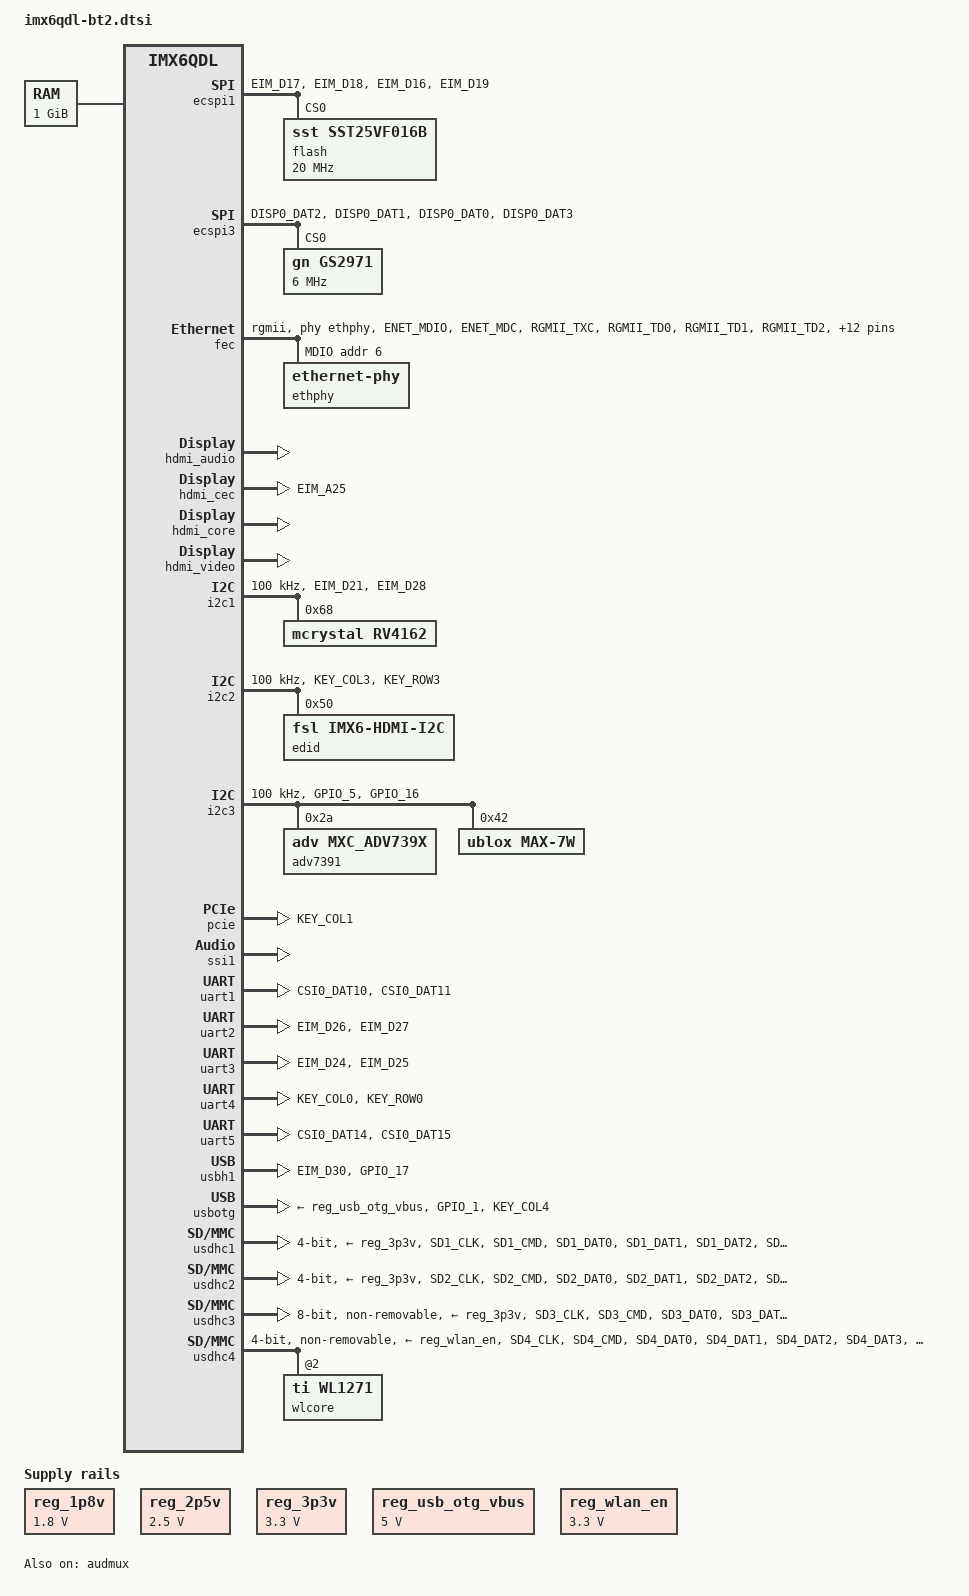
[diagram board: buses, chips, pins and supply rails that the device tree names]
/*
 * Copyright 2014 Boundary Devices
 * Copyright 2012 Freescale Semiconductor, Inc.
 * Copyright 2011 Linaro Ltd.
 *
 * The code contained herein is licensed under the GNU General Public
 * License. You may obtain a copy of the GNU General Public License
 * Version 2 or later at the following locations:
 *
 * http://www.opensource.org/licenses/gpl-license.html
 * http://www.gnu.org/copyleft/gpl.html
 */
#include <dt-bindings/gpio/gpio.h>
#include <dt-bindings/input/input.h>

&iomuxc {
	pinctrl-names = "default";
	pinctrl-0 = <&pinctrl_hog>;

	iomuxc_imx6q_bt: iomuxc-imx6q-btgrp {
		status = "okay";
	};
};

&iomuxc_imx6q_bt {
	pinctrl_audmux: audmuxgrp {
		fsl,pins = <
			/* Audio - GS2971 */
			MX6QDL_PAD_KEY_ROW1__AUD5_RXD		0x1b070
			MX6QDL_PAD_DISP0_DAT14__AUD5_RXC	0x1b070
			MX6QDL_PAD_DISP0_DAT13__AUD5_RXFS	0x1b070
		>;
	};

	pinctrl_ecspi1: ecspi1grp {
		fsl,pins = <
			MX6QDL_PAD_EIM_D17__ECSPI1_MISO		0x100b1
			MX6QDL_PAD_EIM_D18__ECSPI1_MOSI		0x100b1
			MX6QDL_PAD_EIM_D16__ECSPI1_SCLK		0x100b1
#define GP_ECSPI1_NOR_CS	<&gpio3 19 GPIO_ACTIVE_LOW>
			MX6QDL_PAD_EIM_D19__GPIO3_IO19		0x0b0b0
		>;
	};

	pinctrl_ecspi3: ecspi3grp {
		fsl,pins = <
			MX6QDL_PAD_DISP0_DAT2__ECSPI3_MISO	0x100b1
			MX6QDL_PAD_DISP0_DAT1__ECSPI3_MOSI	0x100b1
			MX6QDL_PAD_DISP0_DAT0__ECSPI3_SCLK	0x100b1
#define GP_ECSPI3_GS2971_CS	<&gpio4 24 GPIO_ACTIVE_LOW>
			MX6QDL_PAD_DISP0_DAT3__GPIO4_IO24	0x0b0b0		/* GS2971 */
		>;
	};

	pinctrl_ecspi3_gs2971: ecspi3-gs2971grp {
		/* parallel camera on CSI1, pins differ for iMX6Q/iMX6DL */
	};

	pinctrl_ecspi3_gs2971_cea861: ecspi3-gs2971_cea861grp {
		/* parallel camera on CSI1, pins differ for iMX6Q/iMX6DL */
	};

	pinctrl_ecspi3_gs2971_no_cea861: ecspi3-gs2971-no-cea861grp { /* parallel camera */
		/* sav/eav codes are used, not hsync/vsync */
		fsl,pins = <
			MX6QDL_PAD_EIM_DA11__GPIO3_IO11		0xb0b0	/* HSYNC */
			MX6QDL_PAD_EIM_DA12__GPIO3_IO12		0xb0b0	/* VSYNC */
		>;
	};

	pinctrl_ecspi3_gs2971_gpios: ecspi3-gs2971-gpiosgrp {
		fsl,pins = <
#define GPIO_INPUT 2
#define GP_GS2971_STANDBY	<&gpio5 0 GPIO_ACTIVE_HIGH>
			MX6QDL_PAD_EIM_WAIT__GPIO5_IO00		0x0b0b0		/* 1 - pin K2 - Standby */
#define GP_GS2971_RESET		<&gpio3 13 GPIO_ACTIVE_LOW>
			MX6QDL_PAD_EIM_DA13__GPIO3_IO13		0x030b0		/* 0 - pin C7 - reset */
#define GP_GS2971_RC_BYPASS	<&gpio4 27 GPIO_ACTIVE_HIGH>
			MX6QDL_PAD_DISP0_DAT6__GPIO4_IO27	0x000b0		/* 0 - pin G3 - RC bypass - output is buffered(low) */
#define GP_GS2971_IOPROC_EN	<&gpio4 28 GPIO_ACTIVE_HIGH>
			MX6QDL_PAD_DISP0_DAT7__GPIO4_IO28	0x000b0		/* 0 - pin H8 - io(A/V) processor enable */
#define GP_GS2971_AUDIO_EN	<&gpio4 29 GPIO_ACTIVE_HIGH>
			MX6QDL_PAD_DISP0_DAT8__GPIO4_IO29	0x000b0		/* 0 - pin H3 - Audio Enable */
#define GP_GS2971_TIM_861	<&gpio4 30 GPIO_ACTIVE_HIGH>
			MX6QDL_PAD_DISP0_DAT9__GPIO4_IO30	0x000b0		/* 0 - pin H5 - TIM861 timing format, 1-use HSYNC/VSYNC */
#define GP_GS2971_SW_EN		<&gpio4 31 GPIO_ACTIVE_HIGH>
			MX6QDL_PAD_DISP0_DAT10__GPIO4_IO31	0x000b0		/* 0 - pin D7 - SW_EN - line lock enable */
#define GP_GS2971_DVB_ASI	<&gpio5 5 GPIO_INPUT>
			MX6QDL_PAD_DISP0_DAT11__GPIO5_IO05	0x1b0b0		/* pin G8 i/o DVB_ASI */
#define GP_GS2971_SMPTE_BYPASS	<&gpio2 24 GPIO_INPUT>
			MX6QDL_PAD_EIM_CS1__GPIO2_IO24		0x1b0b0		/* pin G7 - i/o SMPTE bypass */
#define GP_GS2971_DVI_LOCK	<&gpio3 14 GPIO_INPUT>
			MX6QDL_PAD_EIM_DA14__GPIO3_IO14		0x1b0b0		/* pin B6 - stat3 - DVI_LOCK */
#define GP_GS2971_DATA_ERR	<&gpio3 15 GPIO_INPUT>
			MX6QDL_PAD_EIM_DA15__GPIO3_IO15		0x1b0b0		/* pin C6 - stat5 - DATA error */
#define GP_GS2971_LB_CONT	<&gpio3 20 GPIO_INPUT>
			MX6QDL_PAD_EIM_D20__GPIO3_IO20		0x1b0b0		/* pin A3 - LB control - float, analog input */
#define GP_GS2971_Y_1ANC	<&gpio4 26 GPIO_INPUT>
			MX6QDL_PAD_DISP0_DAT5__GPIO4_IO26	0x1b0b0		/* pin C5 - stat4 - 1ANC - Y signal detect */
		>;
	};

	pinctrl_enet: enetgrp {
		fsl,pins = <
			MX6QDL_PAD_ENET_MDIO__ENET_MDIO		0x1b0b0
			MX6QDL_PAD_ENET_MDC__ENET_MDC		0x1b0b0
			MX6QDL_PAD_RGMII_TXC__RGMII_TXC		0x100b0
			MX6QDL_PAD_RGMII_TD0__RGMII_TD0		0x100b0
			MX6QDL_PAD_RGMII_TD1__RGMII_TD1		0x100b0
			MX6QDL_PAD_RGMII_TD2__RGMII_TD2		0x100b0
			MX6QDL_PAD_RGMII_TD3__RGMII_TD3		0x100b0
			MX6QDL_PAD_RGMII_TX_CTL__RGMII_TX_CTL	0x100b0
			MX6QDL_PAD_ENET_REF_CLK__ENET_TX_CLK	0x100b0
			MX6QDL_PAD_RGMII_RXC__RGMII_RXC		0x1b0b0
			MX6QDL_PAD_RGMII_RD0__RGMII_RD0		0x1b0b0
			MX6QDL_PAD_RGMII_RD1__RGMII_RD1		0x1b0b0
			MX6QDL_PAD_RGMII_RD2__RGMII_RD2		0x1b0b0
			MX6QDL_PAD_RGMII_RD3__RGMII_RD3		0x1b0b0
			MX6QDL_PAD_RGMII_RX_CTL__RGMII_RX_CTL	0x1b0b0
#define GP_ENET_PHY_RESET	<&gpio1 27 GPIO_ACTIVE_LOW>
			MX6QDL_PAD_ENET_RXD0__GPIO1_IO27	0x030b0
#define GPIRQ_ENET_PHY		<&gpio1 28 IRQ_TYPE_LEVEL_LOW>
			MX6QDL_PAD_ENET_TX_EN__GPIO1_IO28	0x1b0b0
#define GPIRQ_ENET		<&gpio1 6 IRQ_TYPE_LEVEL_HIGH>
			MX6QDL_PAD_GPIO_6__ENET_IRQ		0x000b1
		>;
	};

	pinctrl_hdmi_cec: hdmi_cecgrp {
		fsl,pins = <
			MX6QDL_PAD_EIM_A25__HDMI_TX_CEC_LINE	0x1f8b0
		>;
	};

	pinctrl_hog: hoggrp {
		fsl,pins = <
#define GP_PWR_J1	<&gpio5 9 GPIO_ACTIVE_LOW>
			MX6QDL_PAD_DISP0_DAT15__GPIO5_IO09	0x4000b0b0	/* SION */
#define GP_PWR_J2	<&gpio4 25 GPIO_ACTIVE_LOW>
			MX6QDL_PAD_DISP0_DAT4__GPIO4_IO25	0x4000b0b0
#define GP_PWR_J3	<&gpio2 23 GPIO_ACTIVE_LOW>
			MX6QDL_PAD_EIM_CS0__GPIO2_IO23		0x4000b0b0
#define GP_PWR_J4	<&gpio2 25 GPIO_ACTIVE_LOW>
			MX6QDL_PAD_EIM_OE__GPIO2_IO25		0x4000b0b0
#define GP_PWR_J5V	<&gpio2 27 GPIO_ACTIVE_LOW>
			MX6QDL_PAD_EIM_LBA__GPIO2_IO27		0x4000b0b0
#define GP_PWR_J12V	<&gpio2 26 GPIO_ACTIVE_LOW>
			MX6QDL_PAD_EIM_RW__GPIO2_IO26		0x4000b0b0

#define GP_TW6869_MIC_BIAS_EN	<&gpio3 29 GPIO_ACTIVE_HIGH>
			MX6QDL_PAD_EIM_D29__GPIO3_IO29		0x030b0

			/* J92 pins */
#define GP_J92_PIN7	<&gpio3 31 GPIO_ACTIVE_LOW>
			MX6QDL_PAD_EIM_D31__GPIO3_IO31		0x0b0b0		/* OUT_1 - Dry contact to J92 pin 7 */
#define GP_J92_PIN9	<&gpio1 8 GPIO_ACTIVE_LOW>
			MX6QDL_PAD_GPIO_8__GPIO1_IO08		0x030b0		/* OUT_2 - Dry contact to J92 pin 9 */
#define GP_J92_PIN10	<&gpio5 22 GPIO_ACTIVE_LOW>
			MX6QDL_PAD_CSI0_DAT4__GPIO5_IO22	0x0b0b0		/* GPI_1 - J92 - pin 10 */
#define GP_J92_PIN12	<&gpio5 23 GPIO_ACTIVE_LOW>
			MX6QDL_PAD_CSI0_DAT5__GPIO5_IO23	0x0b0b0		/* GPI_2 - J92 - pin 12 */

#define GP_TP77		<&gpio5 6 GPIO_ACTIVE_LOW>
			MX6QDL_PAD_DISP0_DAT12__GPIO5_IO06	0x1b0b0
#define GP_TP81		<&gpio1 3 GPIO_ACTIVE_LOW>
			MX6QDL_PAD_GPIO_3__GPIO1_IO03		0x1b0b0
#define GP_TP82		<&gpio1 0 GPIO_ACTIVE_LOW>
			MX6QDL_PAD_GPIO_0__GPIO1_IO00		0x1b0b0
			MX6QDL_PAD_GPIO_19__GPIO4_IO05		0x1b0b0
			MX6QDL_PAD_NANDF_CS2__GPIO6_IO15	0x1b0b0
			MX6QDL_PAD_NANDF_CS3__GPIO6_IO16	0x1b0b0
			MX6QDL_PAD_NANDF_WP_B__GPIO6_IO09	0x1b0b0
			MX6QDL_PAD_NANDF_D0__GPIO2_IO00		0x1b0b0
			MX6QDL_PAD_GPIO_18__GPIO7_IO13		0x1b0b0
		>;
	};

	pinctrl_i2c1: i2c1grp {
		fsl,pins = <
			MX6QDL_PAD_EIM_D21__I2C1_SCL	0x4001b8b1
			MX6QDL_PAD_EIM_D28__I2C1_SDA	0x4001b8b1
		>;
	};

	pinctrl_i2c1_rv4162: i2c1-rv4162grp {
		fsl,pins = <
#define GPIRQ_RTC_RV4162	 <&gpio4 11 IRQ_TYPE_LEVEL_LOW>
			MX6QDL_PAD_KEY_ROW2__GPIO4_IO11		0x1b0b0
		>;
	};

	pinctrl_i2c2: i2c2grp {
		fsl,pins = <
			MX6QDL_PAD_KEY_COL3__I2C2_SCL	0x4001b8b1
			MX6QDL_PAD_KEY_ROW3__I2C2_SDA	0x4001b8b1
		>;
	};

	pinctrl_i2c3: i2c3grp {
		fsl,pins = <
			MX6QDL_PAD_GPIO_5__I2C3_SCL	0x4001b8b1
			MX6QDL_PAD_GPIO_16__I2C3_SDA	0x4001b8b1
		>;
	};

	pinctrl_i2c3_adv7391_on: i2c3-adv7391-ongrp {
		fsl,pins = <
			MX6QDL_PAD_DI0_DISP_CLK__IPU1_DI0_DISP_CLK 0x10		/* Pixclk */
			MX6QDL_PAD_DISP0_DAT16__IPU1_DISP0_DATA16  0x10
			MX6QDL_PAD_DISP0_DAT17__IPU1_DISP0_DATA17  0x10
			MX6QDL_PAD_DISP0_DAT18__IPU1_DISP0_DATA18  0x10
			MX6QDL_PAD_DISP0_DAT19__IPU1_DISP0_DATA19  0x10
			MX6QDL_PAD_DISP0_DAT20__IPU1_DISP0_DATA20  0x10
			MX6QDL_PAD_DISP0_DAT21__IPU1_DISP0_DATA21  0x10
			MX6QDL_PAD_DISP0_DAT22__IPU1_DISP0_DATA22  0x10
			MX6QDL_PAD_DISP0_DAT23__IPU1_DISP0_DATA23  0x10
		>;
	};

	pinctrl_i2c3_adv7391_off: i2c3-adv7391-offgrp {
		fsl,pins = <
			MX6QDL_PAD_DI0_DISP_CLK__GPIO4_IO16	0x0b0b0		/* Pixclk */
			MX6QDL_PAD_DI0_PIN2__GPIO4_IO18		0x0b0b0		/* HSYNC */
			MX6QDL_PAD_DI0_PIN3__GPIO4_IO19		0x0b0b0		/* VSYNC */
			MX6QDL_PAD_DISP0_DAT16__GPIO5_IO10	0x0b0b0
			MX6QDL_PAD_DISP0_DAT17__GPIO5_IO11	0x0b0b0
			MX6QDL_PAD_DISP0_DAT18__GPIO5_IO12	0x0b0b0
			MX6QDL_PAD_DISP0_DAT19__GPIO5_IO13	0x0b0b0
			MX6QDL_PAD_DISP0_DAT20__GPIO5_IO14	0x0b0b0
			MX6QDL_PAD_DISP0_DAT21__GPIO5_IO15	0x0b0b0
			MX6QDL_PAD_DISP0_DAT22__GPIO5_IO16	0x0b0b0
			MX6QDL_PAD_DISP0_DAT23__GPIO5_IO17	0x0b0b0
#define GP_ADV7391_RESET	<&gpio4 20 GPIO_ACTIVE_LOW>
			MX6QDL_PAD_DI0_PIN4__GPIO4_IO20		0x030b0		/* reset */
		>;
	};

	pinctrl_i2c3_max_7w: i2c3_max_7wgrp {
		fsl,pins = <
#define GP_GPS_RESET		<&gpio4 10 GPIO_ACTIVE_LOW>
			MX6QDL_PAD_KEY_COL2__GPIO4_IO10		0x030b0

#define GP_GPS_RXD		<&gpio5 30 GPIO_ACTIVE_LOW>
			MX6QDL_PAD_CSI0_DAT12__GPIO5_IO30	0x1b0b0		/* imx6 uart4 tx */
#define GP_GPS_TXD		<&gpio5 31 GPIO_ACTIVE_LOW>
			MX6QDL_PAD_CSI0_DAT13__GPIO5_IO31	0x1b0b0		/* imx6 uart4 rx */
#define GP_GPS_TIMEPULSE	<&gpio2 30 GPIO_ACTIVE_LOW>
			MX6QDL_PAD_EIM_EB2__GPIO2_IO30		0x1b0b0
#define GPIRQ_GPS_EXT		<&gpio2 31 IRQ_TYPE_EDGE_FALLING>
#define GP_GPS_EXT		<&gpio2 31 GPIO_ACTIVE_LOW>
			MX6QDL_PAD_EIM_EB3__GPIO2_IO31		0x1b0b0
		>;
	};

	pinctrl_pcie: pciegrp {
		fsl,pins = <
#define GP_PCIE_RESET	<&gpio4 8 GPIO_ACTIVE_LOW>
			MX6QDL_PAD_KEY_COL1__GPIO4_IO08		0x000b0		/* pcie reset */
		>;
	};

	pinctrl_reg_usbotg_vbus: reg-usbotg-vbusgrp {
		fsl,pins = <
#define GP_REG_USBOTG	<&gpio3 22 GPIO_ACTIVE_HIGH>
			MX6QDL_PAD_EIM_D22__GPIO3_IO22		0x030b0
		>;
	};

	pinctrl_reg_wlan_en: reg-wlan-engrp {
		fsl,pins = <
#define GP_REG_WLAN_EN	<&gpio6 7 GPIO_ACTIVE_HIGH>
			MX6QDL_PAD_NANDF_CLE__GPIO6_IO07	0x030b0
		>;
	};

	pinctrl_uart1: uart1grp { /* UART1 - J1 - PTT connector */
		fsl,pins = <
			MX6QDL_PAD_CSI0_DAT10__UART1_TX_DATA	0x1b0b1
			MX6QDL_PAD_CSI0_DAT11__UART1_RX_DATA	0x1b0b1
		>;
	};

	pinctrl_uart2: uart2grp { /* UART2 - debug console */
		fsl,pins = <
			MX6QDL_PAD_EIM_D26__UART2_TX_DATA	0x1b0b1
			MX6QDL_PAD_EIM_D27__UART2_RX_DATA	0x1b0b1
		>;
	};

	pinctrl_uart3: uart3grp { /* UART3 - J2 */
		fsl,pins = <
			MX6QDL_PAD_EIM_D24__UART3_TX_DATA	0x1b0b1
			MX6QDL_PAD_EIM_D25__UART3_RX_DATA	0x1b0b1
		>;
	};

	pinctrl_uart4: uart4grp { /* UART4 - J3 */
		fsl,pins = <
			MX6QDL_PAD_KEY_COL0__UART4_TX_DATA	0x1b0b1
			MX6QDL_PAD_KEY_ROW0__UART4_RX_DATA	0x1b0b1
		>;
	};

	pinctrl_uart5: uart5grp { /* UART5 - J4 */
		fsl,pins = <
			MX6QDL_PAD_CSI0_DAT14__UART5_TX_DATA	0x1b0b1
			MX6QDL_PAD_CSI0_DAT15__UART5_RX_DATA	0x1b0b1
		>;
	};

	pinctrl_usbh1: usbh1grp {
		fsl,pins = <
			MX6QDL_PAD_EIM_D30__USB_H1_OC	0x1b0b0
#define GP_USB_HUB_RESET	<&gpio7 12 GPIO_ACTIVE_LOW>
			MX6QDL_PAD_GPIO_17__GPIO7_IO12	0x0b0b0	/* USB Hub Reset for USB2512 4 port hub */
		>;
	};

	pinctrl_usbotg: usbotggrp {
		fsl,pins = <
			MX6QDL_PAD_GPIO_1__USB_OTG_ID	0x17059
			MX6QDL_PAD_KEY_COL4__USB_OTG_OC	0x1b0b0
		>;
	};

	/* full size SD card */
	pinctrl_usdhc1_50mhz: usdhc1-50mhzgrp {
		fsl,pins = <
			MX6QDL_PAD_SD1_CLK__SD1_CLK		0x10059
			MX6QDL_PAD_SD1_CMD__SD1_CMD		0x17059
			MX6QDL_PAD_SD1_DAT0__SD1_DATA0		0x17059
			MX6QDL_PAD_SD1_DAT1__SD1_DATA1		0x17059
			MX6QDL_PAD_SD1_DAT2__SD1_DATA2		0x17059
			MX6QDL_PAD_SD1_DAT3__SD1_DATA3		0x17059
#define GP_USDHC1_CD		<&gpio1 4 GPIO_ACTIVE_LOW>
			MX6QDL_PAD_GPIO_4__GPIO1_IO04		0x1b0b0
#define GP_USDHC1_WP		<&gpio1 2 GPIO_ACTIVE_HIGH>
			MX6QDL_PAD_GPIO_2__GPIO1_IO02		0x1b0b0
		>;
	};

	/* full size SD card */
	pinctrl_usdhc2_50mhz: usdhc2-50mhzgrp {
		fsl,pins = <
			MX6QDL_PAD_SD2_CLK__SD2_CLK		0x10059
			MX6QDL_PAD_SD2_CMD__SD2_CMD		0x17059
			MX6QDL_PAD_SD2_DAT0__SD2_DATA0		0x17059
			MX6QDL_PAD_SD2_DAT1__SD2_DATA1		0x17059
			MX6QDL_PAD_SD2_DAT2__SD2_DATA2		0x17059
			MX6QDL_PAD_SD2_DAT3__SD2_DATA3		0x17059
#define GP_USDHC2_CD		<&gpio3 23 GPIO_ACTIVE_LOW>
			MX6QDL_PAD_EIM_D23__GPIO3_IO23		0x1b0b0
#define GP_USDHC2_WP		<&gpio4 15 GPIO_ACTIVE_HIGH>
			MX6QDL_PAD_KEY_ROW4__GPIO4_IO15		0x1b0b0
		>;
	};

	/* eMMC */
	pinctrl_usdhc3_50mhz: usdhc3-50mhzgrp {
		fsl,pins = <
			MX6QDL_PAD_SD3_CLK__SD3_CLK		0x10031
			MX6QDL_PAD_SD3_CMD__SD3_CMD		0x17031
			MX6QDL_PAD_SD3_DAT0__SD3_DATA0		0x17031
			MX6QDL_PAD_SD3_DAT1__SD3_DATA1		0x17031
			MX6QDL_PAD_SD3_DAT2__SD3_DATA2		0x17031
			MX6QDL_PAD_SD3_DAT3__SD3_DATA3		0x17031
			MX6QDL_PAD_SD3_DAT4__SD3_DATA4		0x17031
			MX6QDL_PAD_SD3_DAT5__SD3_DATA5		0x17031
			MX6QDL_PAD_SD3_DAT6__SD3_DATA6		0x17031
			MX6QDL_PAD_SD3_DAT7__SD3_DATA7		0x17031
#define GP_EMMC_RESET	<&gpio7 8 GPIO_ACTIVE_LOW>
			MX6QDL_PAD_SD3_RST__GPIO7_IO08		0x0b0b0
		>;
	};

	/* Broadcom GB863021 */
	pinctrl_usdhc4_50mhz: usdhc4-50mhzgrp {
		fsl,pins = <
			MX6QDL_PAD_SD4_CLK__SD4_CLK		0x10031
			MX6QDL_PAD_SD4_CMD__SD4_CMD		0x17031
			MX6QDL_PAD_SD4_DAT0__SD4_DATA0		0x17031
			MX6QDL_PAD_SD4_DAT1__SD4_DATA1		0x17031
			MX6QDL_PAD_SD4_DAT2__SD4_DATA2		0x17031
			MX6QDL_PAD_SD4_DAT3__SD4_DATA3		0x17031
#define GPIRQ_WL1271	<&gpio6 10 IRQ_TYPE_LEVEL_HIGH>
			MX6QDL_PAD_NANDF_RB0__GPIO6_IO10	0x1b0b0
		>;
	};
};

/ {
	aliases {
		fb_hdmi = &fb_hdmi;
		fb_lcd = &fb_lcd;
		mxcfb0 = &fb_hdmi;
		mxcfb1 = &fb_lcd;
	};

	fb_hdmi: fb@0 {
		compatible = "fsl,mxc_sdc_fb";
		disp_dev = "hdmi";
		interface_pix_fmt = "RGB24";
		mode_str ="1280x720M@60";
		default_bpp = <16>;
		int_clk = <0>;
		late_init = <0>;
		status = "okay";
	};

	fb_lcd: fb@1 {
		compatible = "fsl,mxc_sdc_fb";
		disp_dev = "adv739x";
		interface_pix_fmt = "BT656";
		mode_str ="BT656-NTSC";
		default_bpp = <16>;
		int_clk = <0>;
		late_init = <0>;
		status = "okay";
	};

	memory {
		reg = <0x10000000 0x40000000>;
	};

	regulators {
		compatible = "simple-bus";
		#address-cells = <1>;
		#size-cells = <0>;

		reg_1p8v: regulator@0 {
			compatible = "regulator-fixed";
			reg = <0>;
			regulator-name = "1P8V";
			regulator-min-microvolt = <1800000>;
			regulator-max-microvolt = <1800000>;
			regulator-always-on;
		};

		reg_2p5v: regulator@1 {
			compatible = "regulator-fixed";
			reg = <1>;
			regulator-name = "2P5V";
			regulator-min-microvolt = <2500000>;
			regulator-max-microvolt = <2500000>;
			regulator-always-on;
		};

		reg_3p3v: regulator@2 {
			compatible = "regulator-fixed";
			reg = <2>;
			regulator-name = "3P3V";
			regulator-min-microvolt = <3300000>;
			regulator-max-microvolt = <3300000>;
			regulator-always-on;
		};

		reg_usb_otg_vbus: regulator@3 {
			compatible = "regulator-fixed";
			reg = <3>;
			pinctrl-names = "default";
			pinctrl-0 = <&pinctrl_reg_usbotg_vbus>;
			regulator-name = "usb_otg_vbus";
			regulator-min-microvolt = <5000000>;
			regulator-max-microvolt = <5000000>;
			gpio = GP_REG_USBOTG;
			enable-active-high;
		};

		reg_wlan_en: regulator@4 {
			compatible = "regulator-fixed";
			reg = <4>;
			pinctrl-names = "default";
			pinctrl-0 = <&pinctrl_reg_wlan_en>;
			regulator-name = "wlan-en";
			regulator-min-microvolt = <3300000>;
			regulator-max-microvolt = <3300000>;
			gpio = GP_REG_WLAN_EN;
			startup-delay-us = <70000>;
			enable-active-high;
		};
	};

	reserved-memory {
		linux,cma {
			size = <0x18000000>;
		};
	};

	sound-hdmi {
		compatible = "fsl,imx6q-audio-hdmi",
			     "fsl,imx-audio-hdmi";
		model = "imx-audio-hdmi";
		hdmi-controller = <&hdmi_audio>;
	};

	v4l2_cap_0: v4l2_cap_0 {
		/* gs2971 */
		compatible = "fsl,imx6q-v4l2-capture";
		csi_id = <1>;
		device_id = <8>;
		mclk_source = <0>;
		status = "okay";
	};

	v4l2_out {
		compatible = "fsl,mxc_v4l2_output";
		status = "okay";
	};
};


&audmux {
	pinctrl-names = "default";
	pinctrl-0 = <&pinctrl_audmux>;
	status = "okay";
};

&ecspi1 {
	fsl,spi-num-chipselects = <1>;
	cs-gpios = GP_ECSPI1_NOR_CS;
	pinctrl-names = "default";
	pinctrl-0 = <&pinctrl_ecspi1>;
	status = "okay";

	flash: m25p80@0 {
		compatible = "sst,sst25vf016b";
		spi-max-frequency = <20000000>;
		reg = <0>;
		#address-cells = <1>;
		#size-cells = <1>;
		mtd@00000000 {
			label = "U-Boot";
			reg = <0x0 0xC0000>;
		};

		mtd@000C0000 {
			label = "env";
			reg = <0xC0000 0x2000>;
		};
		mtd@000C2000 {
			label = "splash";
			reg = <0xC2000 0x13e000>;
		};
	};
};

&ecspi3 {
	fsl,spi-num-chipselects = <1>;
	cs-gpios = GP_ECSPI3_GS2971_CS;
	pinctrl-names = "default";
	pinctrl-0 = <&pinctrl_ecspi3>;
	status = "okay";

	gs2971: gs2971@0 {
		compatible = "gn,gs2971";
		reg = <0>;
		pinctrl-names = "default", "no_cea861", "cea861";
		pinctrl-0 = <&pinctrl_ecspi3_gs2971>, <&pinctrl_ecspi3_gs2971_gpios>;
		pinctrl-1 = <&pinctrl_ecspi3_gs2971_no_cea861>;
		pinctrl-2 = <&pinctrl_ecspi3_gs2971_cea861>;
		mclk = <27000000>;
		csi = <1>;
		cea861 = <0>;
		spi-max-frequency = <6000000>;
		standby-gpios = GP_GS2971_STANDBY;	/* 1 - powerdown */
		rst-gpios = GP_GS2971_RESET;		/* 0 - reset */
		tim_861-gpios = GP_GS2971_TIM_861;	/* 0 - TIM861 timing format sav/eav codes */
		/* enable on power up */
		ioproc_en-gpios = GP_GS2971_IOPROC_EN;	/* 0 - io(A/V) processor disabled */
		sw_en-gpios = GP_GS2971_SW_EN;		/* 0 - line lock disabled */
		rc_bypass-gpios = GP_GS2971_RC_BYPASS;	/* 0 -  RC bypass - output is buffered(low) */
		audio_en-gpios = GP_GS2971_AUDIO_EN;	/* 0 - audio disabled */
		dvb_asi-gpios = GP_GS2971_DVB_ASI;	/* 0 - dvs_asi disabled */
		smpte_bypass-gpios = GP_GS2971_SMPTE_BYPASS;	/* in */
		dvi_lock-gpios = GP_GS2971_DVI_LOCK;	/* in */
		data_err-gpios = GP_GS2971_DATA_ERR;	/* in */
		lb_cont-gpios = GP_GS2971_LB_CONT;	/* in */
		y_1anc-gpios = GP_GS2971_Y_1ANC;	/* in */
	};
};

&fec {
	interrupts-extended = GPIRQ_ENET,
			      <&gpc 0 119 IRQ_TYPE_LEVEL_HIGH>;
	phy-handle = <&ethphy>;
	phy-mode = "rgmii";
#if 0
	phy-reset-gpios = GP_ENET_PHY_RESET;
#endif
	pinctrl-names = "default";
	pinctrl-0 = <&pinctrl_enet>;
	status = "okay";

	mdio {
		#address-cells = <0>;
		#size-cells = <1>;

		ethphy: ethernet-phy@6 {
			reg = <6>;
			interrupts-extended = GPIRQ_ENET_PHY;
		};
	};
};

&hdmi_audio {
	status = "okay";
};

&hdmi_cec {
	pinctrl-names = "default";
	pinctrl-0 = <&pinctrl_hdmi_cec>;
	status = "okay";
};

&hdmi_core {
	ipu_id = <1>;
	disp_id = <0>;
	status = "okay";
};

&hdmi_video {
	fsl,phy_reg_vlev = <0x0294>;
	fsl,phy_reg_cksymtx = <0x800d>;
	status = "okay";
};

&i2c1 {
	clock-frequency = <100000>;
	pinctrl-names = "default";
	pinctrl-0 = <&pinctrl_i2c1>;
	status = "okay";

	rv4162@68 {
		compatible = "mcrystal,rv4162";
		pinctrl-names = "default";
		pinctrl-0 = <&pinctrl_i2c1_rv4162>;
		reg = <0x68>;
		clkout = <32768>;
		interrupts-extended = GPIRQ_RTC_RV4162;
	};
};

&i2c2 {
	clock-frequency = <100000>;
	pinctrl-names = "default";
	pinctrl-0 = <&pinctrl_i2c2>;
	status = "okay";

	edid@50 {
		compatible = "fsl,imx6-hdmi-i2c";
		reg = <0x50>;
	};
};

&i2c3 {
        clock-frequency = <100000>;
        pinctrl-names = "default";
        pinctrl-0 = <&pinctrl_i2c3>;
        status = "okay";

	adv7391: adv7391@2a {
		compatible = "adv,mxc_adv739x";
		reg = <0x2a>;
		pinctrl-names = "default", "enable";
		pinctrl-0 = <&pinctrl_i2c3_adv7391_off>;
		pinctrl-1 = <&pinctrl_i2c3_adv7391_on>;
		rst-gpios = GP_ADV7391_RESET;
		ipu_id = <0>;
		disp_id = <0>;
        };

	max-7w@42 {
		compatible = "ublox,max-7w";
		reg = <0x42>;
		pinctrl-names = "default";
		pinctrl-0 = <&pinctrl_i2c3_max_7w>;
		reset-gpios = GP_GPS_RESET;
		/*
		 * TXD		- 6
		 * RXD		- 7
		 * TIMEPULSE	- 11
		 * EXTINT	- 13
		 * ANT_ON	- 16
		 * SDA		- 9
		 * SCL		- 8
		 */
		int-pio = <13>;
		interrupts-extended = GPIRQ_GPS_EXT;
		wakeup-gpios = GP_GPS_EXT;
        };
};

&pcie {
	pinctrl-names = "default";
	pinctrl-0 = <&pinctrl_pcie>;
	reset-gpios = GP_PCIE_RESET;
	status = "okay";
};

&ssi1 {
	fsl,mode = "i2s-slave";
	status = "okay";
};

&uart1 {
	pinctrl-names = "default";
	pinctrl-0 = <&pinctrl_uart1>;
	status = "okay";
};

&uart2 {
	pinctrl-names = "default";
	pinctrl-0 = <&pinctrl_uart2>;
	status = "okay";
};

&uart3 {
	pinctrl-names = "default";
	pinctrl-0 = <&pinctrl_uart3>;
	status = "okay";
};

&uart4 {
	pinctrl-names = "default", "j3";
	pinctrl-0 = <&pinctrl_uart4>;
	status = "okay";
};

&uart5 {
	pinctrl-names = "default";
	pinctrl-0 = <&pinctrl_uart5>;
	status = "okay";
};

&usbh1 {
	pinctrl-names = "default";
	pinctrl-0 = <&pinctrl_usbh1>;
	reset-gpios = GP_USB_HUB_RESET;
	status = "okay";
};

&usbotg {
	vbus-supply = <&reg_usb_otg_vbus>;
	pinctrl-names = "default";
	pinctrl-0 = <&pinctrl_usbotg>;
	disable-over-current;
	status = "okay";
};

&usdhc1 {
	pinctrl-names = "default";
	pinctrl-0 = <&pinctrl_usdhc1_50mhz>;
	bus-width = <4>;
	cd-gpios = GP_USDHC1_CD;
	wp-gpios = GP_USDHC1_WP;
	vmmc-supply = <&reg_3p3v>;
	status = "okay";
};

&usdhc2 {
	pinctrl-names = "default";
	pinctrl-0 = <&pinctrl_usdhc2_50mhz>;
	bus-width = <4>;
	cd-gpios = GP_USDHC2_CD;
	wp-gpios = GP_USDHC2_WP;
	vmmc-supply = <&reg_3p3v>;
	status = "okay";
};

&usdhc3 {
	pinctrl-names = "default";
	pinctrl-0 = <&pinctrl_usdhc3_50mhz>;
	bus-width = <8>;
	non-removable;
	vmmc-supply = <&reg_3p3v>;
	vqmmc-1-8-v;
	keep-power-in-suspend;
	reset-gpios = GP_EMMC_RESET;
	status = "okay";
};

&usdhc4 {	/* Broadcom GB863021 */
	pinctrl-names = "default";
	pinctrl-0 = <&pinctrl_usdhc4_50mhz>;
	bus-width = <4>;
	non-removable;
	vmmc-supply = <&reg_wlan_en>;
	vqmmc-1-8-v;
	cap-power-off-card;
	keep-power-in-suspend;
	status = "okay";

	#address-cells = <1>;
	#size-cells = <0>;
	wlcore: wlcore@2 {
		compatible = "ti,wl1271";
		interrupts-extended = GPIRQ_WL1271;
		reg = <2>;
		ref-clock-frequency = <38400000>;
	};
};
